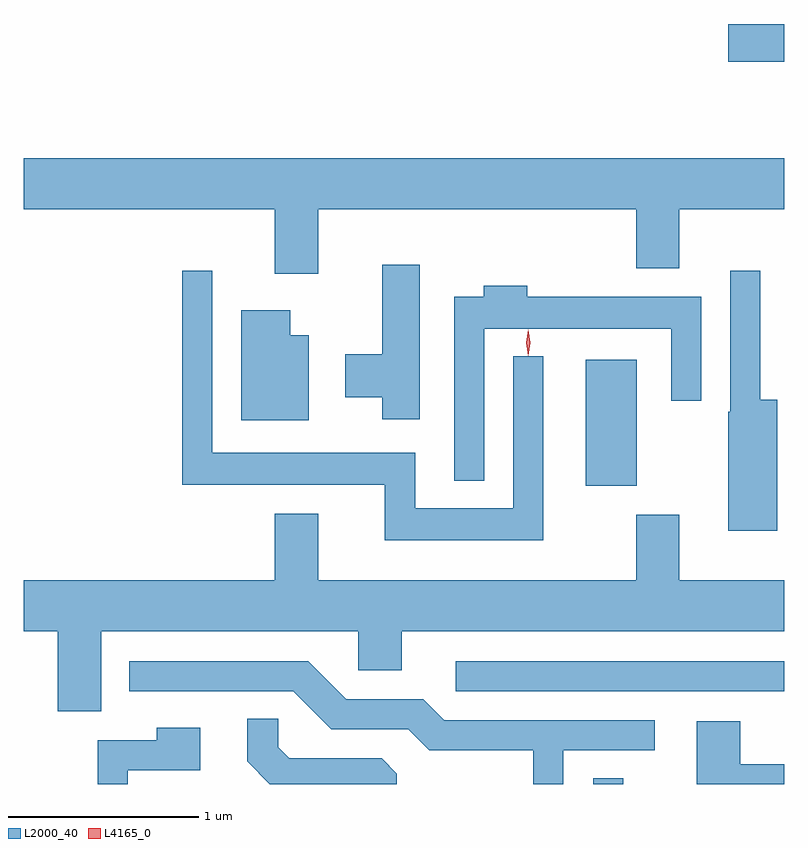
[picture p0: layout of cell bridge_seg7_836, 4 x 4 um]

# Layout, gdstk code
import gdstk
lib = gdstk.Library(unit=1e-6, precision=1e-09)
def R(c, l, rs):  # rectangles x0, y0, x1, y1
    for r in rs: c.add(gdstk.rectangle(r[:2], r[2:], *l))
def P(c, l, *ps):  # polygons
    for p in ps: c.add(gdstk.Polygon(p, *l))
L2000_40 = (2000, 40)
L4165_0 = (4165, 0)

bridge_seg7_836 = lib.new_cell('bridge_seg7_836')
R(bridge_seg7_836, L2000_40, [(353.306,1682.434,353.464,1682.463), (352.583,1682.921,354.311,1683.079), (353.266,1684.001,353.534,1684.664), (354.016,1686.231,354.311,1686.429)])
P(bridge_seg7_836, L2000_40, [(351.859,1685.456),(353.531,1685.456),(353.531,1685.146),(353.759,1685.146),(353.759,1685.456),(354.311,1685.456),(354.311,1685.724),(350.311,1685.724),(350.311,1685.456),(351.631,1685.456),(351.631,1685.116),(351.859,1685.116)],
  [(352.394,1685.164),(352.196,1685.164),(352.196,1684.694),(352.001,1684.694),(352.001,1684.466),(352.196,1684.466),(352.196,1684.351),(352.394,1684.351)],
  [(354.274,1684.454),(354.184,1684.454),(354.184,1685.133),(354.026,1685.133),(354.026,1684.39),(354.016,1684.39),(354.016,1683.766),(354.274,1683.766)],
  [(353.044,1684.683),(352.886,1684.683),(352.886,1683.884),(352.369,1683.884),(352.369,1684.174),(351.304,1684.174),(351.304,1685.133),(351.146,1685.133),(351.146,1684.006),(352.211,1684.006),(352.211,1683.716),(353.044,1683.716)],
  [(352.734,1684.826),(353.716,1684.826),(353.716,1684.448),(353.874,1684.448),(353.874,1684.994),(352.959,1684.994),(352.959,1685.054),(352.731,1685.054),(352.731,1684.994),(352.576,1684.994),(352.576,1684.028),(352.734,1684.028)],
  [(351.809,1684.794),(351.714,1684.794),(351.714,1684.924),(351.456,1684.924),(351.456,1684.346),(351.809,1684.346)],
  [(350.719,1683.236),(352.071,1683.236),(352.071,1683.031),(352.299,1683.031),(352.299,1683.236),(354.311,1683.236),(354.311,1683.504),(353.759,1683.504),(353.759,1683.849),(353.531,1683.849),(353.531,1683.504),(351.859,1683.504),(351.859,1683.854),(351.631,1683.854),(351.631,1683.504),(350.311,1683.504),(350.311,1683.236),(350.491,1683.236),(350.491,1682.816),(350.719,1682.816)],
  [(353.149,1682.611),(353.628,1682.611),(353.628,1682.769),(352.522,1682.769),(352.412,1682.879),(352.007,1682.879),(351.807,1683.079),(350.868,1683.079),(350.868,1682.921),(351.729,1682.921),(351.929,1682.721),(352.334,1682.721),(352.444,1682.611),(352.991,1682.611),(352.991,1682.434),(353.149,1682.434)],
  [(352.274,1682.489),(352.194,1682.569),(351.707,1682.569),(351.649,1682.627),(351.649,1682.778),(351.486,1682.778),(351.486,1682.554),(351.606,1682.434),(352.274,1682.434)],
  [(354.311,1682.539),(354.079,1682.539),(354.079,1682.764),(353.851,1682.764),(353.851,1682.434),(354.311,1682.434)],
  [(350.859,1682.506),(351.239,1682.506),(351.239,1682.729),(351.011,1682.729),(351.011,1682.664),(350.701,1682.664),(350.701,1682.434),(350.859,1682.434)])
P(bridge_seg7_836, L4165_0, [(352.964,1684.684),(352.964,1684.684),(352.954,1684.753),(352.964,1684.823),(352.964,1684.823),(352.965,1684.823),(352.974,1684.753),(352.965,1684.684)])

lib.write_gds('bridge_seg7_836.gds')
